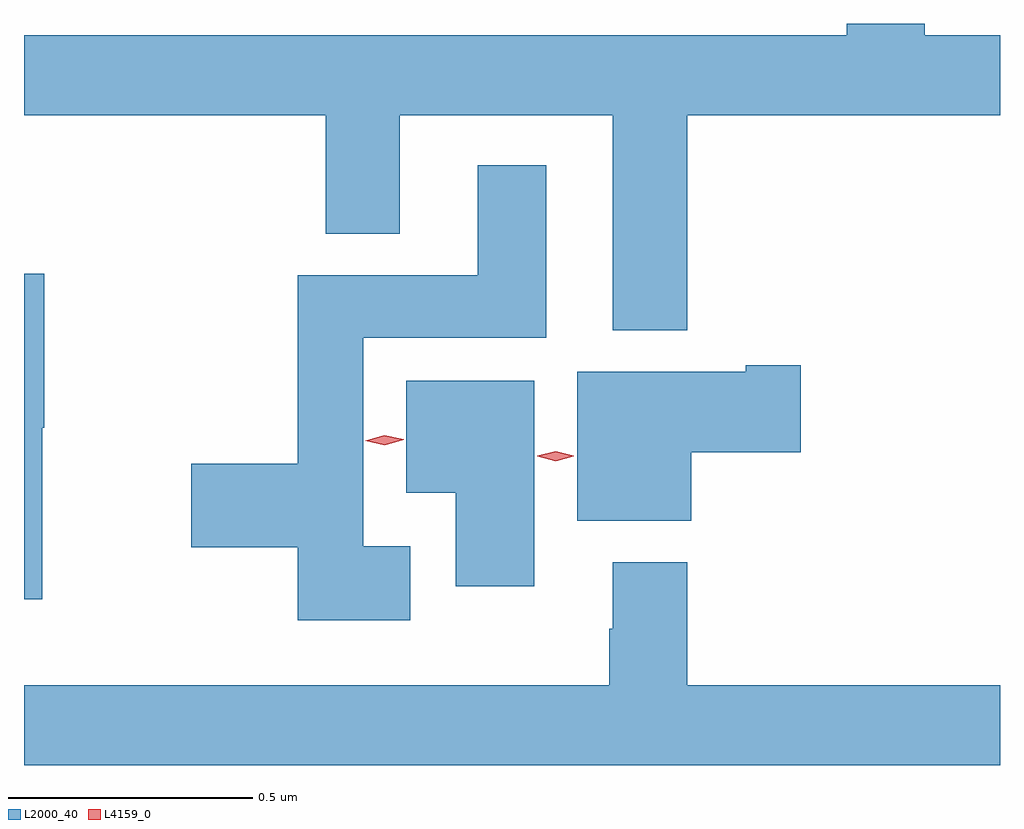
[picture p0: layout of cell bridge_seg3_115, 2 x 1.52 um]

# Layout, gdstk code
import gdstk
lib = gdstk.Library(unit=1e-6, precision=1e-09)
def P(c, l, *ps):  # polygons
    for p in ps: c.add(gdstk.Polygon(p, *l))
L2000_40 = (2000, 40)
L4159_0 = (4159, 0)

bridge_seg3_115 = lib.new_cell('bridge_seg3_115')
P(bridge_seg3_115, L2000_40, [(278.702,740.876),(279.343,740.876),(279.343,741.04),(279.189,741.04),(279.189,741.063),(279.029,741.063),(279.029,741.04),(277.343,741.04),(277.343,740.876),(277.961,740.876),(277.961,740.633),(278.113,740.633),(278.113,740.876),(278.549,740.876),(278.549,740.435),(278.702,740.435)],
  [(278.134,739.993),(278.038,739.993),(278.038,740.42),(278.413,740.42),(278.413,740.773),(278.273,740.773),(278.273,740.548),(277.904,740.548),(277.904,740.162),(277.686,740.162),(277.686,739.991),(277.904,739.991),(277.904,739.841),(278.134,739.841)],
  [(277.38,740.235),(277.385,740.235),(277.385,740.551),(277.343,740.551),(277.343,739.884),(277.38,739.884)],
  [(278.71,740.185),(278.935,740.185),(278.935,740.363),(278.822,740.363),(278.822,740.35),(278.477,740.35),(278.477,740.045),(278.71,740.045)],
  [(278.389,740.332),(278.126,740.332),(278.126,740.102),(278.228,740.102),(278.228,739.911),(278.389,739.911)],
  [(279.343,739.708),(278.702,739.708),(278.702,739.96),(278.549,739.96),(278.549,739.823),(278.542,739.823),(278.542,739.708),(277.343,739.708),(277.343,739.544),(279.343,739.544)])
P(bridge_seg3_115, L4159_0, [(278.082,740.2),(278.042,740.209),(278.042,740.209),(278.042,740.209),(278.081,740.22),(278.121,740.212),(278.121,740.211),(278.121,740.211)],
  [(278.433,740.167),(278.395,740.177),(278.395,740.177),(278.395,740.178),(278.433,740.187),(278.47,740.178),(278.47,740.177),(278.47,740.177)])

lib.write_gds('bridge_seg3_115.gds')
